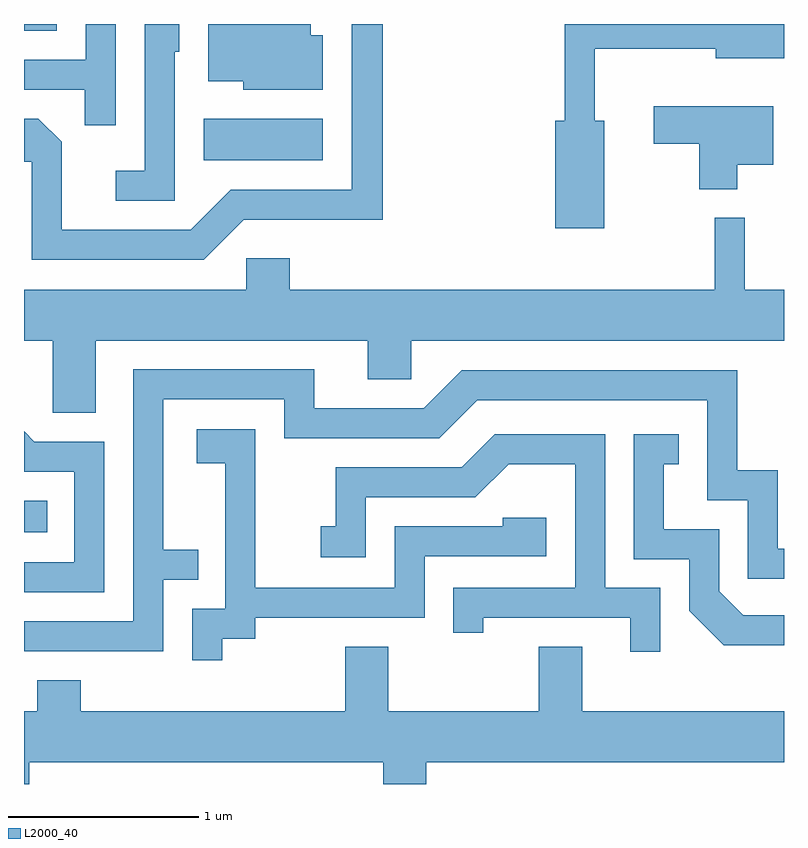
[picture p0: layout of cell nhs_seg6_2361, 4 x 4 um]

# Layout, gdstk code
import gdstk
lib = gdstk.Library(unit=1e-6, precision=1e-09)
def R(c, l, rs):  # rectangles x0, y0, x1, y1
    for r in rs: c.add(gdstk.rectangle(r[:2], r[2:], *l))
def P(c, l, *ps):  # polygons
    for p in ps: c.add(gdstk.Polygon(p, *l))
L2000_40 = (2000, 40)

nhs_seg6_2361 = lib.new_cell('nhs_seg6_2361')
R(nhs_seg6_2361, L2000_40, [(257.611,1533.486,257.733,1533.654), (258.556,1535.446,259.184,1535.664), (257.611,1536.126,257.784,1536.162)])
P(nhs_seg6_2361, L2000_40, [(260.664,1535.654),(260.614,1535.654),(260.614,1536.031),(261.251,1536.031),(261.251,1535.981),(261.611,1535.981),(261.611,1536.162),(260.456,1536.162),(260.456,1535.654),(260.406,1535.654),(260.406,1535.086),(260.664,1535.086)],
  [(258.767,1535.131),(259.499,1535.131),(259.499,1536.162),(259.336,1536.162),(259.336,1535.289),(258.699,1535.289),(258.489,1535.079),(257.809,1535.079),(257.809,1535.542),(257.687,1535.664),(257.611,1535.664),(257.611,1535.436),(257.651,1535.436),(257.651,1534.921),(258.557,1534.921)],
  [(258.094,1536.162),(257.936,1536.162),(257.936,1535.974),(257.611,1535.974),(257.611,1535.816),(257.931,1535.816),(257.931,1535.628),(258.094,1535.628)],
  [(259.184,1536.104),(259.119,1536.104),(259.119,1536.162),(258.581,1536.162),(258.581,1535.861),(258.766,1535.861),(258.766,1535.816),(259.184,1535.816)],
  [(258.404,1536.016),(258.429,1536.016),(258.429,1536.162),(258.246,1536.162),(258.246,1535.389),(258.093,1535.389),(258.093,1535.231),(258.404,1535.231)],
  [(261.364,1535.421),(261.554,1535.421),(261.554,1535.729),(260.926,1535.729),(260.926,1535.531),(261.166,1535.531),(261.166,1535.291),(261.364,1535.291)],
  [(257.989,1534.496),(259.421,1534.496),(259.421,1534.291),(259.649,1534.291),(259.649,1534.496),(261.611,1534.496),(261.611,1534.764),(261.404,1534.764),(261.404,1535.143),(261.246,1535.143),(261.246,1534.764),(259.009,1534.764),(259.009,1534.929),(258.781,1534.929),(258.781,1534.764),(257.611,1534.764),(257.611,1534.496),(257.761,1534.496),(257.761,1534.116),(257.989,1534.116)],
  [(258.344,1533.236),(258.528,1533.236),(258.528,1533.394),(258.344,1533.394),(258.344,1534.186),(258.981,1534.186),(258.981,1533.981),(259.796,1533.981),(259.997,1534.181),(261.206,1534.181),(261.206,1533.656),(261.421,1533.656),(261.421,1533.241),(261.611,1533.241),(261.611,1533.399),(261.579,1533.399),(261.579,1533.814),(261.364,1533.814),(261.364,1534.339),(259.914,1534.339),(259.714,1534.139),(259.139,1534.139),(259.139,1534.344),(258.186,1534.344),(258.186,1533.019),(257.611,1533.019),(257.611,1532.861),(258.344,1532.861)],
  [(258.654,1532.926),(258.829,1532.926),(258.829,1533.036),(259.719,1533.036),(259.719,1533.361),(260.359,1533.361),(260.359,1533.564),(260.131,1533.564),(260.131,1533.519),(259.561,1533.519),(259.561,1533.194),(258.829,1533.194),(258.829,1534.029),(258.521,1534.029),(258.521,1533.851),(258.671,1533.851),(258.671,1533.084),(258.496,1533.084),(258.496,1532.813),(258.654,1532.813)],
  [(258.034,1533.964),(257.666,1533.964),(257.611,1534.019),(257.611,1533.806),(257.876,1533.806),(257.876,1533.329),(257.611,1533.329),(257.611,1533.171),(258.034,1533.171)],
  [(260.959,1533.194),(260.669,1533.194),(260.669,1534.004),(260.089,1534.004),(259.914,1533.829),(259.251,1533.829),(259.251,1533.519),(259.173,1533.519),(259.173,1533.356),(259.409,1533.356),(259.409,1533.671),(259.986,1533.671),(260.162,1533.846),(260.511,1533.846),(260.511,1533.194),(259.871,1533.194),(259.871,1532.958),(260.029,1532.958),(260.029,1533.036),(260.801,1533.036),(260.801,1532.858),(260.959,1532.858)],
  [(261.611,1533.049),(261.397,1533.049),(261.269,1533.177),(261.269,1533.504),(260.979,1533.504),(260.979,1533.846),(261.058,1533.846),(261.058,1534.004),(260.821,1534.004),(260.821,1533.346),(261.111,1533.346),(261.111,1533.074),(261.294,1532.891),(261.611,1532.891)],
  [(257.639,1532.276),(259.501,1532.276),(259.501,1532.162),(259.729,1532.162),(259.729,1532.276),(261.611,1532.276),(261.611,1532.544),(260.549,1532.544),(260.549,1532.884),(260.321,1532.884),(260.321,1532.544),(259.529,1532.544),(259.529,1532.884),(259.301,1532.884),(259.301,1532.544),(257.909,1532.544),(257.909,1532.709),(257.681,1532.709),(257.681,1532.544),(257.611,1532.544),(257.611,1532.162),(257.639,1532.162)])

lib.write_gds('nhs_seg6_2361.gds')
